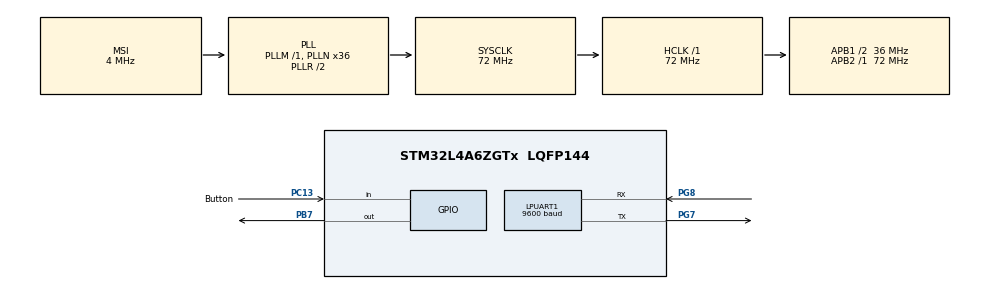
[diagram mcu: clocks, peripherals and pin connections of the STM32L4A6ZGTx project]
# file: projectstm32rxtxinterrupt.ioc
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LPUART1.BaudRate=9600
LPUART1.WordLength=UART_WORDLENGTH_8B
Mcu.Family=STM32L4
Mcu.Name=STM32L4A6ZGTx
Mcu.Package=LQFP144
NVIC.LPUART1_IRQn=true\:0\:0\:false\:false\:true\:true\:true\:true
NVIC.PriorityGroup=NVIC_PRIORITYGROUP_4
PA13\ (JTMS/SWDIO).Mode=Serial_Wire
PA13\ (JTMS/SWDIO).Signal=SYS_JTMS-SWDIO
PA14\ (JTCK/SWCLK).Mode=Serial_Wire
PA14\ (JTCK/SWCLK).Signal=SYS_JTCK-SWCLK
PB7.PinState=GPIO_PIN_SET
PB7.Signal=GPIO_Output
PC13.GPIO_Label=Button
PC13.Signal=GPIO_Input
PC14-OSC32_IN\ (PC14).Mode=LSE-External-Oscillator
PC14-OSC32_IN\ (PC14).Signal=RCC_OSC32_IN
PC15-OSC32_OUT\ (PC15).Mode=LSE-External-Oscillator
PC15-OSC32_OUT\ (PC15).Signal=RCC_OSC32_OUT
PG7.Mode=Asynchronous
PG7.Signal=LPUART1_TX
PG8.Mode=Asynchronous
PG8.Signal=LPUART1_RX
PH0-OSC_IN\ (PH0).Mode=HSE-External-Oscillator
PH0-OSC_IN\ (PH0).Signal=RCC_OSC_IN
PH1-OSC_OUT\ (PH1).Mode=HSE-External-Oscillator
PH1-OSC_OUT\ (PH1).Signal=RCC_OSC_OUT
ProjectManager.HeapSize=0x200
ProjectManager.StackSize=0x400
ProjectManager.TargetToolchain=STM32CubeIDE
RCC.ADCFreq_Value=48000000
RCC.AHBFreq_Value=72000000
RCC.APB1CLKDivider=RCC_HCLK_DIV2
RCC.APB1Freq_Value=36000000
RCC.APB1TimFreq_Value=72000000
RCC.APB2Freq_Value=72000000
RCC.APB2TimFreq_Value=72000000
RCC.CortexFreq_Value=72000000
RCC.FLatency=FLASH_LATENCY_4
RCC.HCLKFreq_Value=72000000
RCC.HSE_VALUE=8000000
RCC.HSI48_VALUE=48000000
RCC.HSI_VALUE=16000000
RCC.MSI_VALUE=4000000
RCC.PLLN=36
RCC.PLLSAI1N=24
RCC.SYSCLKFreq_VALUE=72000000
RCC.SYSCLKSource=RCC_SYSCLKSOURCE_PLLCLK
RCC.USBFreq_Value=48000000
RCC.VCOOutputFreq_Value=144000000
board=NUCLEO-L4A6ZG

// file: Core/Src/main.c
/* USER CODE BEGIN Header */
/**
  ******************************************************************************
  * @file           : main.c
  * @brief          : Main program body
  ******************************************************************************
  * @attention
  *
  * Copyright (c) 2024 STMicroelectronics.
  * All rights reserved.
  *
  * This software is licensed under terms that can be found in the LICENSE file
  * in the root directory of this software component.
  * If no LICENSE file comes with this software, it is provided AS-IS.
  *
  ******************************************************************************
  */
/* USER CODE END Header */
#include "main.h"

UART_HandleTypeDef hlpuart1;

/* USER CODE BEGIN PV */
uint8_t txData[] = "Hello, UART Interrupt!\r\n";
uint8_t rxData[100];
volatile uint8_t rxComplete = 0;
/* USER CODE END PV */

void SystemClock_Config(void);
static void MX_GPIO_Init(void);
static void MX_LPUART1_UART_Init(void);

int main(void)
{

  /* MCU Configuration--------------------------------------------------------*/

  /* Reset of all peripherals, Initializes the Flash interface and the Systick. */
  HAL_Init();

  /* Configure the system clock */
  SystemClock_Config();

  /* Initialize all configured peripherals */
  MX_GPIO_Init();
  MX_LPUART1_UART_Init();
  /* USER CODE BEGIN 2 */

  // Transmit initial message
  HAL_GPIO_WritePin(GPIOB, GPIO_PIN_7, GPIO_PIN_SET); // Turn on LED
  HAL_UART_Transmit_IT(&hlpuart1, txData, sizeof(txData) - 1);

  // Receive data
  HAL_UART_Receive_IT(&hlpuart1, rxData, sizeof(rxData));

  /* USER CODE END 2 */

  /* Infinite loop */
  /* USER CODE BEGIN WHILE */
  while (1)
  {
    // Check if button is pressed
    if (HAL_GPIO_ReadPin(GPIOC, GPIO_PIN_13) == GPIO_PIN_RESET) {
      // Button pressed, transmit data
      HAL_GPIO_WritePin(GPIOB, GPIO_PIN_7, GPIO_PIN_SET); // Turn on LED
      HAL_UART_Transmit_IT(&hlpuart1, txData, sizeof(txData) - 1);
      HAL_Delay(300); // Debounce delay
    }

    if (rxComplete) {
      // Data received, process it here
      rxComplete = 0;
      // Echo received data back
      HAL_GPIO_WritePin(GPIOB, GPIO_PIN_7, GPIO_PIN_SET); // Turn on LED
      HAL_UART_Transmit_IT(&hlpuart1, rxData, sizeof(rxData));
    }
    /* USER CODE END WHILE */

  }
}

void SystemClock_Config(void)
{
  RCC_OscInitTypeDef RCC_OscInitStruct = {0};
  RCC_ClkInitTypeDef RCC_ClkInitStruct = {0};

  /** Configure the main internal regulator output voltage
  */
  if (HAL_PWREx_ControlVoltageScaling(PWR_REGULATOR_VOLTAGE_SCALE1) != HAL_OK)
  {
    Error_Handler();
  }

  /** Initializes the RCC Oscillators according to the specified parameters
  * in the RCC_OscInitTypeDef structure.
  */
  RCC_OscInitStruct.OscillatorType = RCC_OSCILLATORTYPE_MSI;
  RCC_OscInitStruct.MSIState = RCC_MSI_ON;
  RCC_OscInitStruct.MSICalibrationValue = 0;
  RCC_OscInitStruct.MSIClockRange = RCC_MSIRANGE_6;
  RCC_OscInitStruct.PLL.PLLState = RCC_PLL_ON;
  RCC_OscInitStruct.PLL.PLLSource = RCC_PLLSOURCE_MSI;
  RCC_OscInitStruct.PLL.PLLM = 1;
  RCC_OscInitStruct.PLL.PLLN = 36;
  RCC_OscInitStruct.PLL.PLLP = RCC_PLLP_DIV2;
  RCC_OscInitStruct.PLL.PLLQ = RCC_PLLQ_DIV2;
  RCC_OscInitStruct.PLL.PLLR = RCC_PLLR_DIV2;
  if (HAL_RCC_OscConfig(&RCC_OscInitStruct) != HAL_OK)
  {
    Error_Handler();
  }

  /** Initializes the CPU, AHB and APB buses clocks
  */
  RCC_ClkInitStruct.ClockType = RCC_CLOCKTYPE_HCLK|RCC_CLOCKTYPE_SYSCLK
                              |RCC_CLOCKTYPE_PCLK1|RCC_CLOCKTYPE_PCLK2;
  RCC_ClkInitStruct.SYSCLKSource = RCC_SYSCLKSOURCE_PLLCLK;
  RCC_ClkInitStruct.AHBCLKDivider = RCC_SYSCLK_DIV1;
  RCC_ClkInitStruct.APB1CLKDivider = RCC_HCLK_DIV2;
  RCC_ClkInitStruct.APB2CLKDivider = RCC_HCLK_DIV1;

  if (HAL_RCC_ClockConfig(&RCC_ClkInitStruct, FLASH_LATENCY_4) != HAL_OK)
  {
    Error_Handler();
  }
}

static void MX_LPUART1_UART_Init(void)
{

  hlpuart1.Instance = LPUART1;
  hlpuart1.Init.BaudRate = 9600;
  hlpuart1.Init.WordLength = UART_WORDLENGTH_8B;
  hlpuart1.Init.StopBits = UART_STOPBITS_1;
  hlpuart1.Init.Parity = UART_PARITY_NONE;
  hlpuart1.Init.Mode = UART_MODE_TX_RX;
  hlpuart1.Init.HwFlowCtl = UART_HWCONTROL_NONE;
  hlpuart1.Init.OneBitSampling = UART_ONE_BIT_SAMPLE_DISABLE;
  hlpuart1.AdvancedInit.AdvFeatureInit = UART_ADVFEATURE_NO_INIT;
  if (HAL_UART_Init(&hlpuart1) != HAL_OK)
  {
    Error_Handler();
  }

}

static void MX_GPIO_Init(void)
{
  GPIO_InitTypeDef GPIO_InitStruct = {0};

  /* GPIO Ports Clock Enable */
  __HAL_RCC_GPIOC_CLK_ENABLE();
  __HAL_RCC_GPIOH_CLK_ENABLE();
  __HAL_RCC_GPIOG_CLK_ENABLE();
  HAL_PWREx_EnableVddIO2();
  __HAL_RCC_GPIOA_CLK_ENABLE();
  __HAL_RCC_GPIOB_CLK_ENABLE();

  /*Configure GPIO pin Output Level */
  HAL_GPIO_WritePin(GPIOB, GPIO_PIN_7, GPIO_PIN_SET);

  /*Configure GPIO pin : Button_Pin */
  GPIO_InitStruct.Pin = Button_Pin;
  GPIO_InitStruct.Mode = GPIO_MODE_INPUT;
  GPIO_InitStruct.Pull = GPIO_NOPULL;
  HAL_GPIO_Init(Button_GPIO_Port, &GPIO_InitStruct);

  /*Configure GPIO pin : PB7 */
  GPIO_InitStruct.Pin = GPIO_PIN_7;
  GPIO_InitStruct.Mode = GPIO_MODE_OUTPUT_PP;
  GPIO_InitStruct.Pull = GPIO_NOPULL;
  GPIO_InitStruct.Speed = GPIO_SPEED_FREQ_LOW;
  HAL_GPIO_Init(GPIOB, &GPIO_InitStruct);

}

/* USER CODE BEGIN 4 */

// Transmit complete callback
void HAL_UART_TxCpltCallback(UART_HandleTypeDef *huart)
{
  if (huart->Instance == LPUART1) {
    HAL_GPIO_WritePin(GPIOB, GPIO_PIN_7, GPIO_PIN_RESET); // Turn off LED
  }
}

// Receive complete callback
void HAL_UART_RxCpltCallback(UART_HandleTypeDef *huart)
{
  if (huart->Instance == LPUART1) {
    rxComplete = 1;
    HAL_GPIO_WritePin(GPIOB, GPIO_PIN_7, GPIO_PIN_RESET); // Turn off LED
  }
}

/* USER CODE END 4 */

void Error_Handler(void)
{
  __disable_irq();
  while (1)
  {
  }
}
